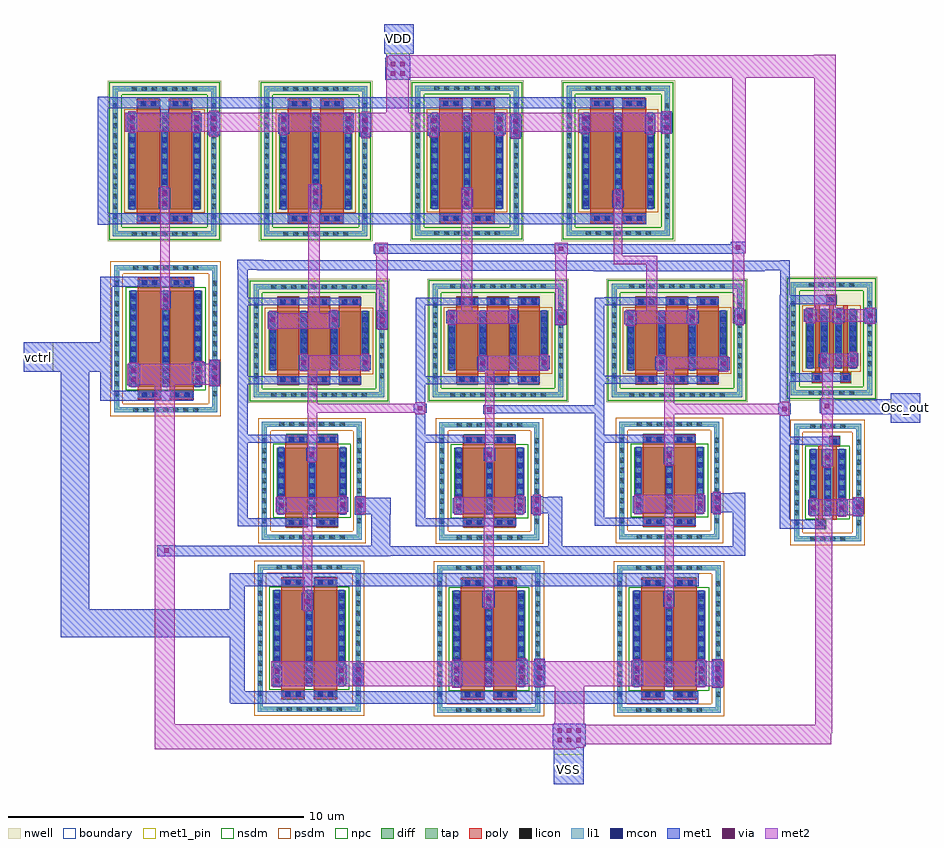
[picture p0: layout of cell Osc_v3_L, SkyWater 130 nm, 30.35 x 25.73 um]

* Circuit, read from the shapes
.subckt Osc_v3_L Osc_out VDD VSS vctrl
XM1 n1 vctrl VSS VSS sky130_fd_pr__nfet_01v8 w=3.25 l=0.8 m=2
XM2 n2 vctrl VSS VSS sky130_fd_pr__nfet_01v8 w=3.25 l=0.8 m=2
XM3 n3 n4 n2 VSS sky130_fd_pr__nfet_01v8 w=2.25 l=0.75 m=2
XM4 n5 vctrl VSS VSS sky130_fd_pr__nfet_01v8 w=3.25 l=0.8 m=2
XM5 n6 n3 n5 VSS sky130_fd_pr__nfet_01v8 w=2.25 l=0.75 m=2
XM6 n7 vctrl VSS VSS sky130_fd_pr__nfet_01v8 w=3.25 l=0.8 m=2
XM7 n4 n6 n7 VSS sky130_fd_pr__nfet_01v8 w=2.25 l=0.75 m=2
XM8 Osc_out n4 VSS VSS sky130_fd_pr__nfet_01v8 w=2.25 l=0.15 m=2
XM9 n1 n1 VDD VDD sky130_fd_pr__pfet_01v8 w=3.25 l=0.8 m=2
XM10 n3 n4 n8 VDD sky130_fd_pr__pfet_01v8 w=2 l=0.75 m=3
XM11 n8 n1 VDD VDD sky130_fd_pr__pfet_01v8 w=3.25 l=0.8 m=2
XM12 n9 n1 VDD VDD sky130_fd_pr__pfet_01v8 w=3.25 l=0.8 m=2
XM13 n6 n3 n9 VDD sky130_fd_pr__pfet_01v8 w=2 l=0.75 m=3
XM14 n10 n1 VDD VDD sky130_fd_pr__pfet_01v8 w=3.25 l=0.8 m=2
XM15 n4 n6 n10 VDD sky130_fd_pr__pfet_01v8 w=2 l=0.75 m=3
XM16 Osc_out n4 VDD VDD sky130_fd_pr__pfet_01v8 w=2 l=0.15 m=3
.ends

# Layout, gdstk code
import gdstk
lib = gdstk.Library(unit=1e-6, precision=1e-09)
def R(c, l, rs):  # rectangles x0, y0, x1, y1
    for r in rs: c.add(gdstk.rectangle(r[:2], r[2:], *l))
def A(c, l, x, y, w, h, nx, ny, dx, dy):  # array of equal rectangles
    R(c, l, [(x+i*dx, y+j*dy, x+i*dx+w, y+j*dy+h) for i in range(nx) for j in range(ny)])
nwell = (64, 20)
diff = (65, 20)
tap = (65, 44)
poly = (66, 20)
licon = (66, 44)
li1 = (67, 20)
mcon = (67, 44)
met1_pin = (68, 16)
met1 = (68, 20)
via = (68, 44)
met2 = (69, 20)
nsdm = (93, 44)
psdm = (94, 20)
npc = (95, 20)
boundary = (235, 4)

sky130_fd_pr__nfet_01v8_ = lib.new_cell('sky130_fd_pr__nfet_01v8_A69A5U')
R(sky130_fd_pr__nfet_01v8_, diff, [(-1.185,-1.125,1.185,1.125)])
R(sky130_fd_pr__nfet_01v8_, tap, [(-1.695,-1.995,1.695,-1.825), (-1.695,-1.825,-1.525,1.825), (1.525,-1.825,1.695,1.825), (-1.695,1.825,1.695,1.995)])
R(sky130_fd_pr__nfet_01v8_, poly, [(-0.895,-1.565,-0.145,1.565), (0.145,-1.565,0.895,1.565)])
A(sky130_fd_pr__nfet_01v8_, licon, -1.105, -1.995, 0.17, 0.17, 7, 2, 0.34, 3.82)
A(sky130_fd_pr__nfet_01v8_, licon, -1.695, -1.445, 0.17, 0.17, 1, 9, 0, 0.34)
A(sky130_fd_pr__nfet_01v8_, licon, 1.525, -1.445, 0.17, 0.17, 1, 9, 0, 0.34)
A(sky130_fd_pr__nfet_01v8_, licon, -1.125, -0.935, 0.17, 0.17, 3, 6, 1.04, 0.34)
R(sky130_fd_pr__nfet_01v8_, licon, [(-0.775,-1.485,-0.605,-1.315), (-0.435,-1.485,-0.265,-1.315), (0.265,-1.485,0.435,-1.315), (0.605,-1.485,0.775,-1.315), (-0.775,1.315,-0.605,1.485), (-0.435,1.315,-0.265,1.485), (0.265,1.315,0.435,1.485), (0.605,1.315,0.775,1.485)])
A(sky130_fd_pr__nfet_01v8_, li1, -1.125, -1.145, 0.17, 2.29, 3, 1, 1.04, 0)
R(sky130_fd_pr__nfet_01v8_, li1, [(-1.695,-1.995,1.695,-1.825), (-1.695,-1.825,-1.525,1.825), (1.525,-1.825,1.695,1.825), (-0.895,-1.485,-0.145,-1.315), (0.145,-1.485,0.895,-1.315), (-0.895,1.315,-0.145,1.485), (0.145,1.315,0.895,1.485), (-1.695,1.825,1.695,1.995)])
A(sky130_fd_pr__nfet_01v8_, mcon, -1.125, -0.985, 0.17, 0.17, 3, 6, 1.04, 0.36)
R(sky130_fd_pr__nfet_01v8_, mcon, [(-0.785,-1.485,-0.615,-1.315), (-0.425,-1.485,-0.255,-1.315), (0.255,-1.485,0.425,-1.315), (0.615,-1.485,0.785,-1.315), (-0.785,1.315,-0.615,1.485), (-0.425,1.315,-0.255,1.485), (0.255,1.315,0.425,1.485), (0.615,1.315,0.785,1.485)])
A(sky130_fd_pr__nfet_01v8_, met1, -1.155, -1.125, 0.23, 2.25, 3, 1, 1.04, 0)
R(sky130_fd_pr__nfet_01v8_, met1, [(-0.875,-1.515,-0.165,-1.285), (0.165,-1.515,0.875,-1.285), (-0.875,1.285,-0.165,1.515), (0.165,1.285,0.875,1.515)])
R(sky130_fd_pr__nfet_01v8_, nsdm, [(-1.31,-1.25,1.31,1.25)])
R(sky130_fd_pr__nfet_01v8_, psdm, [(-1.82,-2.12,1.82,-1.7), (-1.82,-1.7,-1.4,1.7), (1.4,-1.7,1.82,1.7), (-1.82,1.7,1.82,2.12)])
R(sky130_fd_pr__nfet_01v8_, npc, [(-0.875,-1.585,-0.165,-1.215), (0.165,-1.585,0.875,-1.215), (-0.875,1.215,-0.165,1.585), (0.165,1.215,0.875,1.585)])
R(sky130_fd_pr__nfet_01v8_, boundary, [(-1.61,-1.91,1.61,1.91)])

c_sky130_fd_pr__nfet_01v8_ = lib.new_cell('sky130_fd_pr__nfet_01v8_EWGL24')
R(c_sky130_fd_pr__nfet_01v8_, diff, [(-1.235,-1.625,1.235,1.625)])
R(c_sky130_fd_pr__nfet_01v8_, tap, [(-1.745,-2.495,1.745,-2.325), (-1.745,-2.325,-1.575,2.325), (1.575,-2.325,1.745,2.325), (-1.745,2.325,1.745,2.495)])
R(c_sky130_fd_pr__nfet_01v8_, poly, [(-0.945,-2.065,-0.145,2.065), (0.145,-2.065,0.945,2.065)])
A(c_sky130_fd_pr__nfet_01v8_, licon, -1.105, -2.495, 0.17, 0.17, 7, 2, 0.34, 4.82)
A(c_sky130_fd_pr__nfet_01v8_, licon, -1.745, -1.955, 0.17, 0.17, 1, 12, 0, 0.34)
A(c_sky130_fd_pr__nfet_01v8_, licon, 1.575, -1.955, 0.17, 0.17, 1, 12, 0, 0.34)
A(c_sky130_fd_pr__nfet_01v8_, licon, -1.175, -1.445, 0.17, 0.17, 3, 9, 1.09, 0.34)
R(c_sky130_fd_pr__nfet_01v8_, licon, [(-0.8,-1.985,-0.63,-1.815), (-0.46,-1.985,-0.29,-1.815), (0.29,-1.985,0.46,-1.815), (0.63,-1.985,0.8,-1.815), (-0.8,1.815,-0.63,1.985), (-0.46,1.815,-0.29,1.985), (0.29,1.815,0.46,1.985), (0.63,1.815,0.8,1.985)])
A(c_sky130_fd_pr__nfet_01v8_, li1, -1.175, -1.645, 0.17, 3.29, 3, 1, 1.09, 0)
R(c_sky130_fd_pr__nfet_01v8_, li1, [(-1.745,-2.495,1.745,-2.325), (-1.745,-2.325,-1.575,2.325), (1.575,-2.325,1.745,2.325), (-0.945,-1.985,-0.145,-1.815), (0.145,-1.985,0.945,-1.815), (-0.945,1.815,-0.145,1.985), (0.145,1.815,0.945,1.985), (-1.745,2.325,1.745,2.495)])
A(c_sky130_fd_pr__nfet_01v8_, mcon, -1.175, -1.525, 0.17, 0.17, 3, 9, 1.09, 0.36)
R(c_sky130_fd_pr__nfet_01v8_, mcon, [(-0.81,-1.985,-0.64,-1.815), (-0.45,-1.985,-0.28,-1.815), (0.28,-1.985,0.45,-1.815), (0.64,-1.985,0.81,-1.815), (-0.81,1.815,-0.64,1.985), (-0.45,1.815,-0.28,1.985), (0.28,1.815,0.45,1.985), (0.64,1.815,0.81,1.985)])
A(c_sky130_fd_pr__nfet_01v8_, met1, -1.205, -1.625, 0.23, 3.25, 3, 1, 1.09, 0)
R(c_sky130_fd_pr__nfet_01v8_, met1, [(-0.925,-2.015,-0.165,-1.785), (0.165,-2.015,0.925,-1.785), (-0.925,1.785,-0.165,2.015), (0.165,1.785,0.925,2.015)])
R(c_sky130_fd_pr__nfet_01v8_, nsdm, [(-1.36,-1.75,1.36,1.75)])
R(c_sky130_fd_pr__nfet_01v8_, psdm, [(-1.87,-2.62,1.87,-2.2), (-1.87,-2.2,-1.45,2.2), (1.45,-2.2,1.87,2.2), (-1.87,2.2,1.87,2.62)])
R(c_sky130_fd_pr__nfet_01v8_, npc, [(-0.9,-2.085,-0.19,-1.715), (0.19,-2.085,0.9,-1.715), (-0.9,1.715,-0.19,2.085), (0.19,1.715,0.9,2.085)])
R(c_sky130_fd_pr__nfet_01v8_, boundary, [(-1.66,-2.41,1.66,2.41)])

c_sky130_fd_pr__nfet_01v8__ = lib.new_cell('sky130_fd_pr__nfet_01v8_ZAY3BZ')
R(c_sky130_fd_pr__nfet_01v8__, diff, [(-0.625,-1.125,0.625,1.125)])
R(c_sky130_fd_pr__nfet_01v8__, tap, [(-1.135,-1.995,1.135,-1.825), (-1.135,-1.825,-0.965,1.825), (0.965,-1.825,1.135,1.825), (-1.135,1.825,1.135,1.995)])
R(c_sky130_fd_pr__nfet_01v8__, poly, [(-0.405,-1.565,-0.075,-1.235), (0.165,-1.255,0.315,1.235), (-0.315,-1.235,-0.165,1.255), (0.075,1.235,0.405,1.565)])
A(c_sky130_fd_pr__nfet_01v8__, licon, -0.595, -1.995, 0.17, 0.17, 4, 2, 0.34, 3.82)
A(c_sky130_fd_pr__nfet_01v8__, licon, -1.135, -1.445, 0.17, 0.17, 1, 9, 0, 0.34)
A(c_sky130_fd_pr__nfet_01v8__, licon, 0.965, -1.445, 0.17, 0.17, 1, 9, 0, 0.34)
A(c_sky130_fd_pr__nfet_01v8__, licon, -0.565, -0.935, 0.17, 0.17, 3, 6, 0.48, 0.34)
R(c_sky130_fd_pr__nfet_01v8__, licon, [(-0.325,-1.485,-0.155,-1.315), (0.155,1.315,0.325,1.485)])
A(c_sky130_fd_pr__nfet_01v8__, li1, -0.565, -1.145, 0.17, 2.29, 3, 1, 0.48, 0)
R(c_sky130_fd_pr__nfet_01v8__, li1, [(-1.135,-1.995,1.135,-1.825), (-1.135,-1.825,-0.965,1.825), (0.965,-1.825,1.135,1.825), (-0.405,-1.485,-0.075,-1.315), (0.075,1.315,0.405,1.485), (-1.135,1.825,1.135,1.995)])
A(c_sky130_fd_pr__nfet_01v8__, mcon, -0.565, -0.985, 0.17, 0.17, 3, 6, 0.48, 0.36)
R(c_sky130_fd_pr__nfet_01v8__, mcon, [(-0.325,-1.485,-0.155,-1.315), (0.155,1.315,0.325,1.485)])
A(c_sky130_fd_pr__nfet_01v8__, met1, -0.595, -1.125, 0.23, 2.25, 3, 1, 0.48, 0)
R(c_sky130_fd_pr__nfet_01v8__, met1, [(-0.385,-1.515,-0.095,-1.285), (0.095,1.285,0.385,1.515)])
R(c_sky130_fd_pr__nfet_01v8__, nsdm, [(-0.75,-1.25,0.75,1.25)])
R(c_sky130_fd_pr__nfet_01v8__, psdm, [(-1.26,-2.12,1.26,-1.7), (-1.26,-1.7,-0.84,1.7), (0.84,-1.7,1.26,1.7), (-1.26,1.7,1.26,2.12)])
R(c_sky130_fd_pr__nfet_01v8__, npc, [(-0.425,-1.585,-0.055,-1.215), (0.055,1.215,0.425,1.585)])
R(c_sky130_fd_pr__nfet_01v8__, boundary, [(-1.05,-1.91,1.05,1.91)])

sky130_fd_pr__pfet_01v8_ = lib.new_cell('sky130_fd_pr__pfet_01v8_GCKZD5')
R(sky130_fd_pr__pfet_01v8_, nwell, [(-2.395,-2.095,2.395,2.095)])
R(sky130_fd_pr__pfet_01v8_, diff, [(-1.705,-1,1.705,1)])
R(sky130_fd_pr__pfet_01v8_, tap, [(-2.215,-1.915,2.215,-1.745), (-2.215,-1.745,-2.045,1.745), (2.045,-1.745,2.215,1.745), (-2.215,1.745,2.215,1.915)])
A(sky130_fd_pr__pfet_01v8_, poly, -1.415, -1.485, 0.75, 2.97, 3, 1, 1.04, 0)
A(sky130_fd_pr__pfet_01v8_, licon, -1.615, -1.915, 0.17, 0.17, 10, 2, 0.34, 3.66)
A(sky130_fd_pr__pfet_01v8_, licon, -2.215, -1.275, 0.17, 0.17, 1, 8, 0, 0.34)
A(sky130_fd_pr__pfet_01v8_, licon, 2.045, -1.275, 0.17, 0.17, 1, 8, 0, 0.34)
A(sky130_fd_pr__pfet_01v8_, licon, -1.645, -0.935, 0.17, 0.17, 4, 6, 1.04, 0.34)
R(sky130_fd_pr__pfet_01v8_, licon, [(-1.295,-1.405,-1.125,-1.235), (-0.955,-1.405,-0.785,-1.235), (-0.255,-1.405,-0.085,-1.235), (0.085,-1.405,0.255,-1.235), (0.785,-1.405,0.955,-1.235), (1.125,-1.405,1.295,-1.235), (-1.295,1.235,-1.125,1.405), (-0.955,1.235,-0.785,1.405), (-0.255,1.235,-0.085,1.405), (0.085,1.235,0.255,1.405), (0.785,1.235,0.955,1.405), (1.125,1.235,1.295,1.405)])
A(sky130_fd_pr__pfet_01v8_, li1, -1.415, -1.405, 0.75, 0.17, 3, 2, 1.04, 2.64)
A(sky130_fd_pr__pfet_01v8_, li1, -1.645, -1.02, 0.17, 2.04, 4, 1, 1.04, 0)
R(sky130_fd_pr__pfet_01v8_, li1, [(-2.215,-1.915,2.215,-1.745), (-2.215,-1.745,-2.045,1.745), (2.045,-1.745,2.215,1.745), (-2.215,1.745,2.215,1.915)])
A(sky130_fd_pr__pfet_01v8_, mcon, -1.645, -0.805, 0.17, 0.17, 4, 5, 1.04, 0.36)
R(sky130_fd_pr__pfet_01v8_, mcon, [(-1.305,-1.405,-1.135,-1.235), (-0.945,-1.405,-0.775,-1.235), (-0.265,-1.405,-0.095,-1.235), (0.095,-1.405,0.265,-1.235), (0.775,-1.405,0.945,-1.235), (1.135,-1.405,1.305,-1.235), (-1.305,1.235,-1.135,1.405), (-0.945,1.235,-0.775,1.405), (-0.265,1.235,-0.095,1.405), (0.095,1.235,0.265,1.405), (0.775,1.235,0.945,1.405), (1.135,1.235,1.305,1.405)])
A(sky130_fd_pr__pfet_01v8_, met1, -1.395, -1.435, 0.71, 0.23, 3, 2, 1.04, 2.64)
A(sky130_fd_pr__pfet_01v8_, met1, -1.675, -1, 0.23, 2, 4, 1, 1.04, 0)
R(sky130_fd_pr__pfet_01v8_, nsdm, [(-2.34,-2.04,2.34,-1.62), (-2.34,-1.62,-1.92,1.62), (1.92,-1.62,2.34,1.62), (-2.34,1.62,2.34,2.04)])
R(sky130_fd_pr__pfet_01v8_, psdm, [(-1.83,-1.125,1.83,1.125)])
A(sky130_fd_pr__pfet_01v8_, npc, -1.395, -1.505, 0.71, 0.37, 3, 2, 1.04, 2.64)
R(sky130_fd_pr__pfet_01v8_, boundary, [(-2.13,-1.83,2.13,1.83)])

c_sky130_fd_pr__pfet_01v8_ = lib.new_cell('sky130_fd_pr__pfet_01v8_XGJZDL')
R(c_sky130_fd_pr__pfet_01v8_, nwell, [(-1.555,-2.095,1.555,2.095)])
R(c_sky130_fd_pr__pfet_01v8_, diff, [(-0.865,-1,0.865,1)])
R(c_sky130_fd_pr__pfet_01v8_, tap, [(-1.375,-1.915,1.375,-1.745), (-1.375,-1.745,-1.205,1.745), (1.205,-1.745,1.375,1.745), (-1.375,1.745,1.375,1.915)])
R(c_sky130_fd_pr__pfet_01v8_, poly, [(-0.645,-1.485,-0.315,-1.155), (0.315,-1.485,0.645,-1.155), (-0.555,-1.155,-0.405,1.13), (0.405,-1.155,0.555,1.13), (-0.075,-1.13,0.075,1.155), (-0.165,1.155,0.165,1.485)])
A(c_sky130_fd_pr__pfet_01v8_, licon, -0.765, -1.915, 0.17, 0.17, 5, 2, 0.34, 3.66)
A(c_sky130_fd_pr__pfet_01v8_, licon, -1.375, -1.275, 0.17, 0.17, 1, 8, 0, 0.34)
A(c_sky130_fd_pr__pfet_01v8_, licon, 1.205, -1.275, 0.17, 0.17, 1, 8, 0, 0.34)
A(c_sky130_fd_pr__pfet_01v8_, licon, -0.805, -0.935, 0.17, 0.17, 4, 6, 0.48, 0.34)
R(c_sky130_fd_pr__pfet_01v8_, licon, [(-0.565,-1.405,-0.395,-1.235), (0.395,-1.405,0.565,-1.235), (-0.085,1.235,0.085,1.405)])
A(c_sky130_fd_pr__pfet_01v8_, li1, -0.805, -1.02, 0.17, 2.04, 4, 1, 0.48, 0)
R(c_sky130_fd_pr__pfet_01v8_, li1, [(-1.375,-1.915,1.375,-1.745), (-1.375,-1.745,-1.205,1.745), (1.205,-1.745,1.375,1.745), (-0.645,-1.405,-0.315,-1.235), (0.315,-1.405,0.645,-1.235), (-0.165,1.235,0.165,1.405), (-1.375,1.745,1.375,1.915)])
A(c_sky130_fd_pr__pfet_01v8_, mcon, -0.805, -0.805, 0.17, 0.17, 4, 5, 0.48, 0.36)
R(c_sky130_fd_pr__pfet_01v8_, mcon, [(-0.565,-1.405,-0.395,-1.235), (0.395,-1.405,0.565,-1.235), (-0.085,1.235,0.085,1.405)])
A(c_sky130_fd_pr__pfet_01v8_, met1, -0.835, -1, 0.23, 2, 4, 1, 0.48, 0)
R(c_sky130_fd_pr__pfet_01v8_, met1, [(-0.625,-1.435,-0.335,-1.205), (0.335,-1.435,0.625,-1.205), (-0.145,1.205,0.145,1.435)])
R(c_sky130_fd_pr__pfet_01v8_, nsdm, [(-1.5,-2.04,1.5,-1.62), (-1.5,-1.62,-1.08,1.62), (1.08,-1.62,1.5,1.62), (-1.5,1.62,1.5,2.04)])
R(c_sky130_fd_pr__pfet_01v8_, psdm, [(-0.99,-1.125,0.99,1.125)])
R(c_sky130_fd_pr__pfet_01v8_, npc, [(-0.665,-1.505,-0.295,-1.135), (0.295,-1.505,0.665,-1.135), (-0.185,1.135,0.185,1.505)])
R(c_sky130_fd_pr__pfet_01v8_, boundary, [(-1.29,-1.83,1.29,1.83)])

c_sky130_fd_pr__pfet_01v8__ = lib.new_cell('sky130_fd_pr__pfet_01v8_NVWXJJ')
R(c_sky130_fd_pr__pfet_01v8__, nwell, [(-1.925,-2.72,1.925,2.72)])
R(c_sky130_fd_pr__pfet_01v8__, diff, [(-1.235,-1.625,1.235,1.625)])
R(c_sky130_fd_pr__pfet_01v8__, tap, [(-1.745,-2.54,1.745,-2.37), (-1.745,-2.37,-1.575,2.37), (1.575,-2.37,1.745,2.37), (-1.745,2.37,1.745,2.54)])
R(c_sky130_fd_pr__pfet_01v8__, poly, [(-0.945,-2.11,-0.145,2.11), (0.145,-2.11,0.945,2.11)])
A(c_sky130_fd_pr__pfet_01v8__, licon, -1.105, -2.54, 0.17, 0.17, 7, 2, 0.34, 4.91)
A(c_sky130_fd_pr__pfet_01v8__, licon, -1.745, -1.955, 0.17, 0.17, 1, 12, 0, 0.34)
A(c_sky130_fd_pr__pfet_01v8__, licon, 1.575, -1.955, 0.17, 0.17, 1, 12, 0, 0.34)
A(c_sky130_fd_pr__pfet_01v8__, licon, -1.175, -1.445, 0.17, 0.17, 3, 9, 1.09, 0.34)
R(c_sky130_fd_pr__pfet_01v8__, licon, [(-0.8,-2.03,-0.63,-1.86), (-0.46,-2.03,-0.29,-1.86), (0.29,-2.03,0.46,-1.86), (0.63,-2.03,0.8,-1.86), (-0.8,1.86,-0.63,2.03), (-0.46,1.86,-0.29,2.03), (0.29,1.86,0.46,2.03), (0.63,1.86,0.8,2.03)])
A(c_sky130_fd_pr__pfet_01v8__, li1, -1.175, -1.645, 0.17, 3.29, 3, 1, 1.09, 0)
R(c_sky130_fd_pr__pfet_01v8__, li1, [(-1.745,-2.54,1.745,-2.37), (-1.745,-2.37,-1.575,2.37), (1.575,-2.37,1.745,2.37), (-0.945,-2.03,-0.145,-1.86), (0.145,-2.03,0.945,-1.86), (-0.945,1.86,-0.145,2.03), (0.145,1.86,0.945,2.03), (-1.745,2.37,1.745,2.54)])
A(c_sky130_fd_pr__pfet_01v8__, mcon, -1.175, -1.525, 0.17, 0.17, 3, 9, 1.09, 0.36)
R(c_sky130_fd_pr__pfet_01v8__, mcon, [(-0.81,-2.03,-0.64,-1.86), (-0.45,-2.03,-0.28,-1.86), (0.28,-2.03,0.45,-1.86), (0.64,-2.03,0.81,-1.86), (-0.81,1.86,-0.64,2.03), (-0.45,1.86,-0.28,2.03), (0.28,1.86,0.45,2.03), (0.64,1.86,0.81,2.03)])
A(c_sky130_fd_pr__pfet_01v8__, met1, -1.205, -1.625, 0.23, 3.25, 3, 1, 1.09, 0)
R(c_sky130_fd_pr__pfet_01v8__, met1, [(-0.925,-2.06,-0.165,-1.83), (0.165,-2.06,0.925,-1.83), (-0.925,1.83,-0.165,2.06), (0.165,1.83,0.925,2.06)])
R(c_sky130_fd_pr__pfet_01v8__, nsdm, [(-1.87,-2.665,1.87,-2.245), (-1.87,-2.245,-1.45,2.245), (1.45,-2.245,1.87,2.245), (-1.87,2.245,1.87,2.665)])
R(c_sky130_fd_pr__pfet_01v8__, psdm, [(-1.36,-1.75,1.36,1.75)])
R(c_sky130_fd_pr__pfet_01v8__, npc, [(-0.9,-2.13,-0.19,-1.76), (0.19,-2.13,0.9,-1.76), (-0.9,1.76,-0.19,2.13), (0.19,1.76,0.9,2.13)])
R(c_sky130_fd_pr__pfet_01v8__, boundary, [(-1.66,-2.455,1.66,2.455)])

osc_v3_l = lib.new_cell('Osc_v3_L')
R(osc_v3_l, li1, [(40.88,-7.74,41.18,-6.9), (34.85,-7.72,35.15,-6.88), (28.73,-7.68,29,-7.03), (45.66,-1.93,45.93,-1.41), (28.79,-1.88,29.06,-1.38), (34.82,-1.88,35,-1.32), (40.92,-1.84,41.11,-1.25), (23.87,2.47,24.15,3.24), (29.55,4.38,29.81,4.92), (35.58,4.53,35.85,4.94), (41.68,4.55,41.88,4.98), (46.04,4.58,46.36,5.01), (34.05,10.85,34.34,11.55), (28.99,10.92,29.18,11.54), (23.86,10.97,24.09,11.62), (39.15,11.01,39.44,11.66)])
R(osc_v3_l, mcon, [(28.78,-7.62,28.95,-7.45), (40.945,-7.585,41.115,-7.415), (34.915,-7.565,35.085,-7.395), (28.78,-7.26,28.95,-7.09), (40.945,-7.225,41.115,-7.055), (34.915,-7.205,35.085,-7.035), (34.825,-1.865,34.995,-1.695), (40.93,-1.81,41.1,-1.64), (45.71,-1.755,45.88,-1.585), (28.84,-1.715,29.01,-1.545), (34.825,-1.505,34.995,-1.335), (40.93,-1.45,41.1,-1.28), (23.925,2.59,24.095,2.76), (23.925,2.95,24.095,3.12), (29.595,4.385,29.765,4.555), (35.63,4.65,35.8,4.82), (41.695,4.68,41.865,4.85), (46.115,4.71,46.285,4.88), (29.595,4.745,29.765,4.915), (34.11,10.935,34.28,11.105), (29,10.965,29.17,11.135), (23.89,11.03,24.06,11.2), (39.21,11.07,39.38,11.24), (34.11,11.295,34.28,11.465), (29,11.325,29.17,11.495), (23.89,11.39,24.06,11.56), (39.21,11.43,39.38,11.6)])
R(osc_v3_l, met1_pin, [(35.49,-11.06,36.49,-10.06), (46.89,1.17,47.89,2.17), (17.54,2.89,18.54,3.89), (29.74,13.67,30.74,14.67)])
R(osc_v3_l, met1, [(35.49,-11.06,36.49,-9.79), (35.45,-9.79,36.56,-9.02), (24.55,-8.35,40.37,-8.31), (24.52,-8.31,40.37,-7.92), (24.52,-7.92,25.02,-6.1), (40.85,-7.8,41.21,-7.74), (34.82,-7.78,35.18,-7.72), (32,-7.75,32.4,-6.91), (25.92,-7.74,26.29,-7.09), (28.7,-7.74,29.03,-7.68), (40.83,-7.74,41.23,-6.9), (40.27,-7.73,40.67,-6.89), (34.8,-7.72,35.2,-6.88), (38.11,-7.72,38.51,-6.88), (34.21,-7.69,34.61,-6.85), (28.12,-7.68,28.49,-7.03), (28.68,-7.68,29.05,-7.03), (28.7,-7.03,29.03,-6.97), (40.85,-6.9,41.21,-6.84), (34.82,-6.88,35.18,-6.82), (18.8,-6.1,25.02,-5.15), (26.95,-5.16,27.34,-4.59), (18.8,-5.15,19.76,2.9), (24.52,-5.15,25.02,-4.36), (33.07,-5.07,33.48,-4.51), (39.19,-5.06,39.57,-4.54), (24.52,-4.36,40.39,-3.93), (24.52,-3.93,25.02,-3.92), (22.06,-3.35,29.95,-3.34), (22.06,-3.34,41.96,-3.01), (22.06,-3.01,29.95,-2.99), (35.29,-3.01,35.77,-1.9), (41.54,-3.01,41.96,-1.86), (22.06,-2.99,22.69,-2.97), (29.31,-2.99,29.95,-1.92), (43.13,-2.42,44.66,-2.12), (30.81,-2.34,34.21,-2.07), (24.79,-2.33,28.19,-2.06), (36.87,-2.32,40.27,-2.05), (43.13,-2.12,43.47,0.45), (30.81,-2.07,31.14,0.49), (24.79,-2.06,25.12,0.49), (36.87,-2.05,37.2,0.5), (45.63,-1.99,45.96,-1.93), (45.06,-1.96,45.43,-1.44), (44.1,-1.95,44.47,-1.43), (28.76,-1.94,29.09,-1.92), (34.79,-1.94,35.03,-1.91), (45.61,-1.93,45.98,-1.41), (28.74,-1.92,29.96,-1.37), (34.72,-1.91,35.1,-1.9), (34.72,-1.9,35.77,-1.35), (40.89,-1.9,41.14,-1.88), (32.07,-1.89,32.44,-1.39), (34.15,-1.88,34.54,-1.33), (40.82,-1.88,41.19,-1.86), (38.16,-1.87,38.52,-1.31), (26.08,-1.86,26.45,-1.36), (40.82,-1.86,41.96,-1.21), (28.15,-1.85,28.52,-1.35), (40.26,-1.84,40.62,-1.28), (45.63,-1.41,45.96,-1.35), (28.76,-1.37,29.09,-1.32), (34.72,-1.35,35.1,-1.32), (35.29,-1.35,35.77,-1.34), (34.79,-1.32,35.03,-1.26), (40.89,-1.21,41.14,-1.19), (41.54,-1.21,41.96,-1.2), (44.56,-0.31,44.92,0.25), (39.21,-0.23,39.57,0.33), (27.11,-0.12,27.48,0.33), (33.11,-0.12,33.5,0.33), (43.63,0.43,45.14,0.45), (43.13,0.45,45.14,0.69), (24.79,0.49,28.18,0.76), (30.81,0.49,34.2,0.76), (36.87,0.5,40.26,0.77), (43.13,0.69,43.47,1.45), (24.79,0.76,25.12,2.48), (30.81,0.76,31.14,1.51), (36.87,0.77,37.2,1.49), (46.89,1.17,47.89,1.46), (43.08,1.45,43.51,1.83), (44.58,1.46,47.89,1.5), (33.1,1.48,33.52,1.49), (33.1,1.49,37.2,1.76), (44.49,1.5,47.89,1.96), (30.74,1.51,31.18,1.81), (33.16,1.76,37.2,1.77), (36.87,1.77,37.2,2.49), (30.81,1.81,31.14,2.48), (43.13,1.83,43.47,2.53), (20.13,1.91,20.54,1.92), (20.13,1.92,23.27,2.25), (44.49,1.96,44.99,1.98), (46.89,1.96,47.89,2.17), (20.13,2.25,20.54,2.9), (23.84,2.41,24.18,2.47), (21.04,2.44,21.49,3.15), (23.82,2.47,24.2,3.24), (24.79,2.48,28.96,2.75), (30.81,2.48,34.98,2.75), (36.87,2.49,41.04,2.76), (23.23,2.5,23.68,3.21), (43.13,2.53,43.48,2.55), (43.13,2.55,45.5,2.85), (24.79,2.75,25.12,5.06), (30.81,2.75,31.14,5.14), (36.87,2.76,37.2,5.15), (43.13,2.85,43.48,3.25), (17.54,2.89,18.54,2.9), (17.54,2.9,20.54,3.89), (32.89,2.94,33.27,3.4), (41.04,2.94,41.44,3.38), (26.85,2.96,27.21,3.46), (28.93,2.96,29.29,3.46), (38.92,2.97,39.32,3.41), (34.97,2.98,35.35,3.44), (44.46,3.07,44.82,3.49), (45.43,3.1,45.79,3.52), (23.84,3.24,24.18,3.3), (43.14,3.25,43.48,5.19), (20.13,3.89,20.54,5.78), (29.52,4.32,29.84,4.38), (25.8,4.37,26.16,4.91), (29.5,4.38,29.86,4.92), (27.86,4.4,28.22,4.94), (35.55,4.47,35.88,4.53), (41.65,4.49,41.91,4.52), (37.87,4.51,38.29,4.94), (41.61,4.52,41.97,4.99), (46.01,4.52,46.39,4.58), (35.53,4.53,35.9,4.94), (31.85,4.54,32.22,4.95), (39.97,4.54,40.39,4.97), (33.92,4.55,34.29,4.96), (44.91,4.58,45.33,5.01), (45.99,4.58,46.41,5.01), (43.96,4.59,44.38,5.02), (29.52,4.92,29.84,4.98), (35.55,4.94,35.88,5), (41.65,4.99,41.91,5.04), (46.01,5.01,46.39,5.07), (22.16,5.05,22.52,5.62), (24.79,5.06,25.13,5.14), (24.79,5.14,28.96,5.41), (30.81,5.14,34.98,5.41), (36.87,5.15,41.04,5.41), (43.14,5.19,45.04,5.48), (24.79,5.41,25.13,6.35), (37.2,5.41,41.04,5.42), (43.15,5.48,45.04,5.49), (43.15,5.49,43.48,6.34), (20.13,5.78,23.32,6.11), (20.13,6.11,20.54,6.12), (36.83,6.3,42.62,6.32), (30.98,6.32,42.62,6.33), (25.45,6.33,42.62,6.34), (25.45,6.34,43.48,6.35), (24.77,6.35,43.48,6.65), (24.77,6.65,36.87,6.66), (42.58,6.65,43.48,6.66), (24.77,6.66,30.98,6.67), (43.15,6.66,43.48,6.68), (24.77,6.67,25.64,6.69), (29.39,6.89,41.83,6.91), (29.39,6.91,41.98,7.21), (35.47,7.21,36,7.22), (41.47,7.21,41.98,7.3), (20.04,7.88,20.4,7.89), (20.04,7.89,38.61,8.26), (20.04,8.26,20.4,11.82), (22.11,8.42,22.5,9.12), (27.23,8.43,27.63,9.22), (32.36,8.46,32.74,9.09), (37.47,8.47,37.86,9.02), (34.02,10.79,34.37,10.85), (34,10.85,34.39,11.55), (28.91,10.86,29.31,11.65), (31.21,10.89,31.6,11.59), (23.77,10.91,24.18,11.68), (33.47,10.93,33.86,11.63), (39.12,10.95,39.47,11.01), (26.16,10.96,26.52,11.59), (38.56,10.97,38.92,11.6), (36.34,10.99,36.7,11.62), (28.35,11,28.71,11.63), (39.1,11.01,39.49,11.66), (21.02,11.03,21.38,11.66), (23.21,11.03,23.57,11.66), (22.16,11.04,22.44,11.82), (34.02,11.55,34.37,11.61), (39.12,11.66,39.47,11.72), (20.04,11.82,38.58,12.19), (20.04,12.19,20.4,12.2), (29.78,12.79,30.63,13.53), (29.82,13.53,30.6,13.67), (29.74,13.67,30.74,14.67)])
A(osc_v3_l, via, 35.61, -9.64, 0.15, 0.15, 3, 2, 0.32, 0.32)
R(osc_v3_l, via, [(26.03,-7.65,26.18,-7.5), (28.23,-7.59,28.38,-7.44), (28.79,-7.59,28.94,-7.44), (32.125,-7.565,32.275,-7.415), (40.955,-7.555,41.105,-7.405), (40.395,-7.545,40.545,-7.395), (34.925,-7.535,35.075,-7.385), (38.235,-7.535,38.385,-7.385), (34.335,-7.505,34.485,-7.355), (26.03,-7.33,26.18,-7.18), (28.23,-7.27,28.38,-7.12), (28.79,-7.27,28.94,-7.12), (32.125,-7.245,32.275,-7.095), (40.955,-7.235,41.105,-7.085), (40.395,-7.225,40.545,-7.075), (34.925,-7.215,35.075,-7.065), (38.235,-7.215,38.385,-7.065), (34.335,-7.185,34.485,-7.035), (27.07,-4.95,27.22,-4.8), (39.305,-4.875,39.455,-4.725), (33.2,-4.865,33.35,-4.715), (22.3,-3.235,22.45,-3.085), (34.835,-1.85,34.985,-1.7), (40.93,-1.78,41.08,-1.63), (45.17,-1.775,45.32,-1.625), (44.21,-1.765,44.36,-1.615), (45.72,-1.745,45.87,-1.595), (32.18,-1.715,32.33,-1.565), (28.85,-1.705,29,-1.555), (26.19,-1.685,26.34,-1.535), (34.27,-1.68,34.42,-1.53), (28.26,-1.675,28.41,-1.525), (38.265,-1.665,38.415,-1.515), (40.365,-1.635,40.515,-1.485), (34.835,-1.53,34.985,-1.38), (40.93,-1.46,41.08,-1.31), (44.665,-0.105,44.815,0.045), (39.315,-0.025,39.465,0.125), (27.22,0.03,27.37,0.18), (33.23,0.03,33.38,0.18), (33.235,1.545,33.385,1.695), (43.22,1.565,43.37,1.715), (30.885,1.585,31.035,1.735), (44.665,1.665,44.815,1.815), (21.19,2.56,21.34,2.71), (23.38,2.62,23.53,2.77), (23.935,2.62,24.085,2.77), (21.19,2.88,21.34,3.03), (23.38,2.94,23.53,3.09), (23.935,2.94,24.085,3.09), (41.165,3.085,41.315,3.235), (33.005,3.095,33.155,3.245), (39.045,3.115,39.195,3.265), (26.955,3.135,27.105,3.285), (29.035,3.135,29.185,3.285), (35.085,3.135,35.235,3.285), (44.565,3.205,44.715,3.355), (45.535,3.235,45.685,3.385), (25.905,4.565,26.055,4.715), (29.605,4.575,29.755,4.725), (27.965,4.595,28.115,4.745), (38.005,4.65,38.155,4.8), (35.64,4.66,35.79,4.81), (31.96,4.67,32.11,4.82), (34.03,4.68,34.18,4.83), (40.105,4.68,40.255,4.83), (41.715,4.68,41.865,4.83), (45.045,4.72,45.195,4.87), (46.125,4.72,46.275,4.87), (44.095,4.73,44.245,4.88), (22.265,5.26,22.415,5.41), (29.58,6.975,29.73,7.125), (35.66,6.985,35.81,7.135), (41.65,7.03,41.8,7.18), (22.23,8.535,22.38,8.685), (32.475,8.54,32.625,8.69), (27.355,8.59,27.505,8.74), (37.59,8.67,37.74,8.82), (22.23,8.855,22.38,9.005), (32.475,8.86,32.625,9.01), (27.355,8.91,27.505,9.06), (34.12,10.965,34.27,11.115), (31.33,11.005,31.48,11.155), (29.035,11.02,29.185,11.17), (26.265,11.04,26.415,11.19), (33.59,11.045,33.74,11.195), (38.665,11.05,38.815,11.2), (23.9,11.06,24.05,11.21), (36.445,11.07,36.595,11.22), (28.455,11.08,28.605,11.23), (39.22,11.1,39.37,11.25), (21.125,11.11,21.275,11.26), (23.315,11.11,23.465,11.26), (34.12,11.285,34.27,11.435), (31.33,11.325,31.48,11.475), (29.035,11.34,29.185,11.49), (26.265,11.36,26.415,11.51), (33.59,11.365,33.74,11.515), (38.665,11.37,38.815,11.52), (23.9,11.38,24.05,11.53), (36.445,11.39,36.595,11.54), (28.455,11.4,28.605,11.55), (39.22,11.42,39.37,11.57), (21.125,11.43,21.275,11.58), (23.315,11.43,23.465,11.58), (29.97,12.925,30.12,13.075), (30.29,12.925,30.44,13.075), (29.97,13.245,30.12,13.395), (30.29,13.245,30.44,13.395)])
R(osc_v3_l, met2, [(21.97,-9.89,36.23,-9.84), (21.97,-9.84,36.51,-9.71), (21.97,-9.71,44.88,-9.34), (21.97,-9.34,44.91,-9.06), (21.97,-9.06,36.52,-9.03), (44.34,-9.06,44.91,-2), (21.97,-9.03,22.65,2.46), (35.5,-9.03,36.52,-8.97), (35.51,-8.97,36.52,-7.75), (32.05,-7.8,32.35,-7.75), (25.97,-7.79,26.24,-7.75), (40.88,-7.79,41.18,-7.75), (40.32,-7.78,40.62,-7.75), (34.85,-7.77,35.15,-7.75), (38.16,-7.77,38.46,-7.75), (25.92,-7.75,41.24,-6.91), (32.05,-6.91,32.35,-6.86), (34.26,-6.91,34.56,-6.8), (34.85,-6.91,35.15,-6.83), (38.16,-6.91,38.46,-6.83), (40.32,-6.91,40.62,-6.84), (40.88,-6.91,41.18,-6.85), (27,-5.21,27.29,-5.18), (26.98,-5.18,27.29,-4.62), (33.12,-5.12,33.43,-5.07), (39.24,-5.11,39.52,-5.06), (33.12,-5.07,33.45,-1.89), (39.24,-5.06,39.54,-1.88), (26.98,-4.62,27.31,-1.86), (45.11,-2.01,45.38,-1.96), (44.15,-2,44.91,-1.96), (45.66,-1.98,45.93,-1.96), (34.77,-1.96,35.05,-1.27), (44.13,-1.96,45.96,-1.42), (32.12,-1.94,32.39,-1.89), (28.79,-1.93,29.06,-1.86), (34.2,-1.93,34.49,-1.89), (40.87,-1.93,41.14,-1.16), (38.21,-1.92,38.47,-1.88), (26.13,-1.91,26.4,-1.86), (28.2,-1.9,28.47,-1.86), (32.11,-1.89,34.49,-1.35), (40.31,-1.89,40.57,-1.88), (38.2,-1.88,40.57,-1.26), (26.07,-1.86,28.47,-1.36), (28.79,-1.86,29.12,-1.36), (44.15,-1.42,44.42,-1.38), (45.11,-1.42,45.38,-1.39), (45.66,-1.42,45.93,-1.36), (26.13,-1.36,26.4,-1.31), (28.2,-1.36,28.47,-1.3), (28.79,-1.36,29.06,-1.33), (32.12,-1.35,32.39,-1.34), (34.2,-1.35,34.49,-1.28), (40.31,-1.26,40.57,-1.23), (44.61,-0.36,44.87,-0.31), (44.57,-0.31,44.93,1.45), (39.26,-0.28,39.52,-0.23), (39.23,-0.23,39.56,1.45), (27.16,-0.17,27.43,-0.12), (33.16,-0.17,33.45,-0.14), (33.16,-0.14,33.46,1.43), (27.16,-0.12,27.48,1.51), (43.13,1.4,43.46,1.46), (33.15,1.43,33.47,1.81), (39.22,1.45,39.57,1.46), (44.54,1.45,44.94,2.03), (30.79,1.46,31.13,1.51), (39.22,1.46,43.46,1.82), (27.13,1.51,31.14,1.81), (27.16,1.81,27.48,2.91), (30.79,1.81,31.13,1.86), (33.16,1.81,33.46,2.89), (39.22,1.82,39.57,2.92), (43.13,1.82,43.46,1.88), (44.57,2.03,44.93,3.02), (21.09,2.39,21.44,2.46), (23.87,2.42,24.15,2.46), (23.28,2.45,23.63,2.46), (21.06,2.46,24.16,3.17), (32.94,2.89,33.46,2.93), (41.09,2.89,41.39,3), (26.9,2.91,27.48,2.95), (28.98,2.91,29.24,2.95), (38.97,2.92,39.57,3), (32.93,2.93,35.3,3.44), (26.87,2.95,29.24,3.46), (38.97,3,41.39,3.4), (44.51,3.02,44.93,3.08), (45.48,3.05,45.74,3.08), (44.5,3.08,45.78,3.51), (21.09,3.17,21.44,3.2), (23.28,3.17,23.63,3.26), (23.87,3.17,24.15,3.29), (38.97,3.4,39.27,3.46), (41.09,3.4,41.39,3.43), (32.94,3.44,33.22,3.45), (35.02,3.44,35.3,3.49), (26.9,3.46,27.16,3.51), (28.98,3.46,29.24,3.51), (44.51,3.51,44.77,3.54), (45.48,3.51,45.74,3.57), (25.85,4.32,26.11,4.36), (29.55,4.33,29.81,4.35), (27.91,4.35,28.17,4.36), (29.47,4.35,29.86,6.84), (25.82,4.36,28.17,4.88), (37.92,4.46,38.24,4.52), (41.66,4.47,41.92,4.54), (35.53,4.48,35.92,6.85), (31.9,4.49,32.17,4.52), (40.02,4.49,40.34,4.52), (33.97,4.5,34.24,4.52), (31.9,4.52,34.24,4.97), (37.88,4.52,40.34,4.96), (44.96,4.53,45.28,4.59), (46.04,4.53,46.36,4.59), (41.55,4.54,41.94,6.86), (44.01,4.54,44.33,4.59), (43.95,4.59,46.37,5.02), (25.85,4.88,26.11,4.96), (27.17,4.88,27.56,8.38), (27.91,4.88,28.17,4.99), (37.92,4.96,38.24,4.99), (38.62,4.96,38.98,6.54), (40.01,4.96,40.34,4.98), (31.9,4.97,32.17,5), (32.35,4.97,32.72,9.12), (33.97,4.97,34.24,5.01), (40.02,4.98,40.34,5.02), (22.21,5,22.47,5.05), (44.01,5.02,45.28,5.06), (46.04,5.02,46.36,5.06), (22.16,5.05,22.49,9.12), (44.01,5.06,45.03,5.07), (44.31,5.07,45.03,12.85), (37.51,6.53,37.8,6.54), (37.51,6.54,38.98,6.83), (37.51,6.83,37.8,8.42), (29.44,6.84,29.87,7.26), (35.52,6.85,35.95,7.27), (41.52,6.86,41.94,6.91), (41.52,6.91,41.98,12.85), (27.17,8.38,27.58,9.25), (37.51,8.42,37.81,8.5), (37.52,8.5,37.81,9.07), (22.16,9.12,22.45,9.17), (32.41,9.12,32.69,9.14), (27.28,9.25,27.58,9.27), (34.05,10.8,34.34,11.03), (28.96,10.81,29.26,11.03), (31.26,10.84,31.55,11.03), (23.82,10.86,24.13,11.03), (33.52,10.88,33.81,11.03), (26.21,10.91,26.47,11.03), (38.61,10.92,38.87,11.03), (36.39,10.94,36.65,11.03), (28.4,10.95,28.66,11.03), (39.15,10.96,39.44,11.03), (21.07,10.98,21.33,11.03), (23.26,10.98,23.52,11.03), (20.98,11.03,39.44,11.66), (21.07,11.66,21.33,11.71), (23.26,11.66,23.52,11.71), (23.82,11.66,24.13,11.73), (28.4,11.66,28.66,11.68), (28.96,11.66,29.26,11.7), (29.82,11.66,30.58,12.85), (33.52,11.66,33.81,11.68), (36.39,11.66,36.65,11.67), (39.15,11.66,39.44,11.71), (29.82,12.85,45.03,13.21), (29.83,13.21,45.03,13.58), (29.92,13.58,45.03,13.61), (44.31,13.61,45.03,13.63)])
osc_v3_l.add(gdstk.Reference(sky130_fd_pr__nfet_01v8_, (27.295,-0.795)))
osc_v3_l.add(gdstk.Reference(c_sky130_fd_pr__nfet_01v8_, (27.205,-6.125)))
osc_v3_l.add(gdstk.Reference(sky130_fd_pr__nfet_01v8_, (33.305,-0.805)))
osc_v3_l.add(gdstk.Reference(c_sky130_fd_pr__nfet_01v8_, (33.285,-6.145)))
osc_v3_l.add(gdstk.Reference(sky130_fd_pr__nfet_01v8_, (39.395,-0.785)))
osc_v3_l.add(gdstk.Reference(c_sky130_fd_pr__nfet_01v8_, (39.385,-6.145)))
osc_v3_l.add(gdstk.Reference(c_sky130_fd_pr__nfet_01v8__, (44.755,-0.855)))
osc_v3_l.add(gdstk.Reference(c_sky130_fd_pr__nfet_01v8_, (22.345,4.015)))
osc_v3_l.add(gdstk.Reference(sky130_fd_pr__pfet_01v8_, (27.535,3.945)))
osc_v3_l.add(gdstk.Reference(sky130_fd_pr__pfet_01v8_, (33.595,3.955)))
osc_v3_l.add(gdstk.Reference(sky130_fd_pr__pfet_01v8_, (39.655,3.955)))
osc_v3_l.add(gdstk.Reference(c_sky130_fd_pr__pfet_01v8_, (44.885,4.015)))
osc_v3_l.add(gdstk.Reference(c_sky130_fd_pr__pfet_01v8__, (22.305,10.03)))
osc_v3_l.add(gdstk.Reference(c_sky130_fd_pr__pfet_01v8__, (27.425,10.03)))
osc_v3_l.add(gdstk.Reference(c_sky130_fd_pr__pfet_01v8__, (32.545,10.04)))
osc_v3_l.add(gdstk.Reference(c_sky130_fd_pr__pfet_01v8__, (37.665,10.04)))
osc_v3_l.add(gdstk.Label('vctrl', (18.04,3.39), layer=68, texttype=5))
osc_v3_l.add(gdstk.Label('VDD', (30.24,14.17), layer=68, texttype=5))
osc_v3_l.add(gdstk.Label('VSS', (35.99,-10.56), layer=68, texttype=5))
osc_v3_l.add(gdstk.Label('Osc_out', (47.39,1.67), layer=68, texttype=5))

lib.write_gds('Osc_v3_L.gds')
